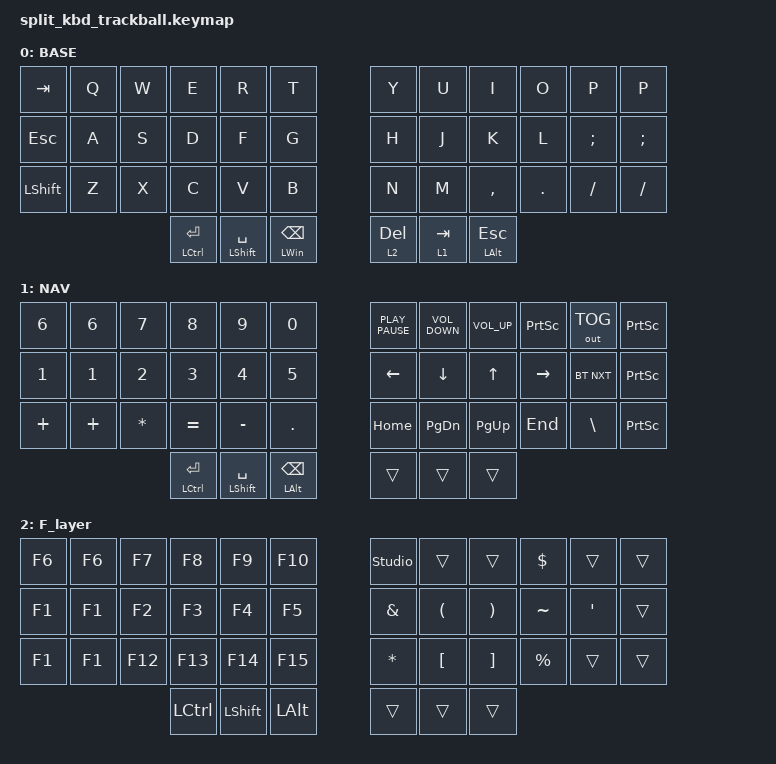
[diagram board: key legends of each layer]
#include <behaviors.dtsi>
#include <dt-bindings/zmk/bt.h>
#include <dt-bindings/zmk/keys.h>
#include <dt-bindings/zmk/outputs.h>

#define U_TAPPING_TERM 220
#define U_QUICK_TAP 200

/ {
    combos {
        compatible = "zmk,combos";

        ParaLeft {
            bindings = <&kp LEFT_PARENTHESIS>;
            key-positions = <6 7>;
        };

        ParaRight {
            bindings = <&kp RIGHT_PARENTHESIS>;
            key-positions = <2 3>;
        };

        BrakLeft {
            bindings = <&kp LEFT_BRACKET>;
            key-positions = <26 27>;
        };

        BrakRight {
            bindings = <&kp RIGHT_BRACKET>;
            key-positions = <22 23>;
        };

        Delete {
            bindings = <&kp DELETE>;
            key-positions = <8 9>;
        };

        CapsWord {
            bindings = <&caps_word>;
            key-positions = <11 12>;
        };

        quote {
            bindings = <&kp SINGLE_QUOTE>;
            key-positions = <17 18>;
        };

        alt {
            bindings = <&kp LEFT_ALT>;
            key-positions = <12 13>;
        };
    };

    behaviors {
        u_mt: u_mt {
            compatible = "zmk,behavior-hold-tap";
            label = "u_mt";
            #binding-cells = <2>;
            tapping-term-ms = <U_TAPPING_TERM>;
            quick-tap-ms = <U_QUICK_TAP>;
            flavor = "tap-preferred";
            bindings = <&kp>, <&kp>;
        };

        u_lt: u_lt {
            compatible = "zmk,behavior-hold-tap";
            label = "u_lt";
            #binding-cells = <2>;
            tapping-term-ms = <U_TAPPING_TERM>;
            quick-tap-ms = <U_QUICK_TAP>;
            flavor = "tap-preferred";
            bindings = <&mo>, <&kp>;
        };
    };

    keymap {
        compatible = "zmk,keymap";

        BASE {
            bindings = <
&kp TAB     &kp Q  &kp W              &kp E              &kp R                     &kp T         &kp Y      &kp U                  &kp I      &kp O    &kp P    &kp P
&kp ESCAPE  &kp A  &kp S              &kp D              &kp F                     &kp G         &kp H      &kp J                  &kp K      &kp L    &kp SEMI &kp SEMI
&kp LSHFT   &kp Z  &kp X              &kp C              &kp V                     &kp B         &kp N      &kp M                  &kp COMMA  &kp DOT  &kp FSLH &kp FSLH
       &u_mt LCTRL ENTER  &u_mt LSHFT SPACE  &u_mt LEFT_WIN BACKSPACE  &lt 2 DELETE  &lt 1 TAB  &u_mt LEFT_ALT ESCAPE
            >;
        };

        NAV {
            bindings = <
&kp N6      &kp N6    &kp N7             &kp N8             &kp N9                &kp N0   &kp K_PLAY_PAUSE  &kp K_VOLUME_DOWN  &kp K_VOLUME_UP  &kp PRINTSCREEN  &out OUT_TOG  &kp PRINTSCREEN
&kp N1      &kp N1    &kp N2             &kp N3             &kp N4                &kp N5   &kp LEFT_ARROW    &kp DOWN           &kp UP_ARROW     &kp RIGHT        &bt BT_NXT    &kp PRINTSCREEN
&kp PLUS    &kp PLUS  &kp ASTERISK       &kp EQUAL          &kp MINUS             &kp DOT  &kp HOME          &kp PAGE_DOWN      &kp PG_UP        &kp END          &kp BACKSLASH &kp PRINTSCREEN
          &u_mt LCTRL ENTER  &u_mt LSHFT SPACE  &u_mt LALT BACKSPACE  &trans   &trans            &trans
            >;
        };

        F_layer {
            bindings = <
&kp F6  &kp F6   &kp F7   &kp F8   &kp F9   &kp F10  &studio_unlock  &trans        &trans        &kp DOLLAR   &trans    &trans
&kp F1  &kp F1   &kp F2   &kp F3   &kp F4   &kp F5   &kp AMPS        &kp LEFT_PARENTHESIS  &kp RIGHT_PARENTHESIS  &kp TILDE    &kp SINGLE_QUOTE &trans
&kp F1  &kp F1  &kp F12  &kp F13  &kp F14  &kp F15  &kp ASTERISK    &kp LEFT_BRACKET      &kp RIGHT_BRACKET      &kp PERCENT  &trans    &trans
         &kp LCTRL  &kp LEFT_SHIFT  &kp LEFT_ALT  &trans   &trans          &trans
            >;
        };
    };

    conditional_layers { compatible = "zmk,conditional-layers"; };
};
